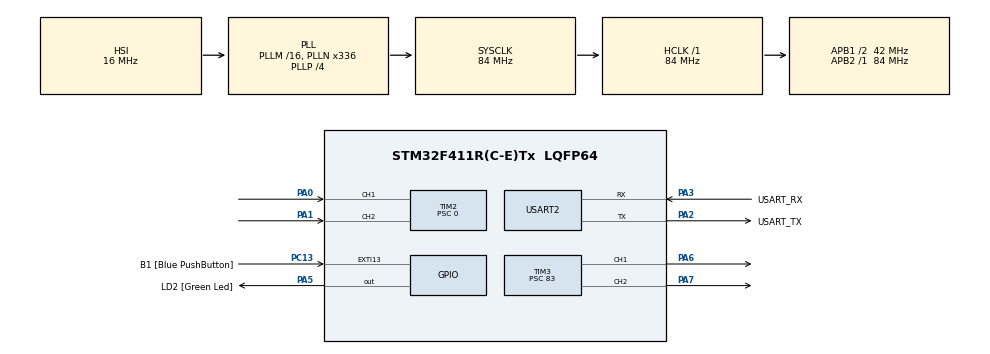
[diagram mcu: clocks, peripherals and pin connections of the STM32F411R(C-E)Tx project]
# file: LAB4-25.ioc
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ARM.CMSIS.5.6.0.CMSISJjCORE=true
ARM.CMSIS.5.6.0.CMSISJjDSP=Library
Mcu.Family=STM32F4
Mcu.Name=STM32F411R(C-E)Tx
Mcu.Package=LQFP64
Mcu.UserConstants=QEI_PERIOD,307200
NVIC.PriorityGroup=NVIC_PRIORITYGROUP_0
PA0-WKUP.Signal=S_TIM2_CH1_ETR
PA1.Signal=S_TIM2_CH2
PA13.GPIO_Label=TMS
PA13.Mode=Trace_Asynchronous_SW
PA13.Signal=SYS_JTMS-SWDIO
PA14.GPIO_Label=TCK
PA14.Mode=Trace_Asynchronous_SW
PA14.Signal=SYS_JTCK-SWCLK
PA2.GPIO_Label=USART_TX
PA2.Mode=Asynchronous
PA2.Signal=USART2_TX
PA3.GPIO_Label=USART_RX
PA3.Mode=Asynchronous
PA3.Signal=USART2_RX
PA5.GPIO_Label=LD2 [Green Led]
PA5.Signal=GPIO_Output
PA6.Signal=S_TIM3_CH1
PA7.Signal=S_TIM3_CH2
PB3.GPIO_Label=SWO
PB3.Mode=Trace_Asynchronous_SW
PB3.Signal=SYS_JTDO-SWO
PC13-ANTI_TAMP.GPIO_Label=B1 [Blue PushButton]
PC13-ANTI_TAMP.GPIO_ModeDefaultEXTI=GPIO_MODE_IT_FALLING
PC13-ANTI_TAMP.Signal=GPXTI13
PC14-OSC32_IN.Mode=LSE-External-Oscillator
PC14-OSC32_IN.Signal=RCC_OSC32_IN
PC15-OSC32_OUT.Mode=LSE-External-Oscillator
PC15-OSC32_OUT.Signal=RCC_OSC32_OUT
PH0\ -\ OSC_IN.Mode=HSE-External-Clock-Source
PH0\ -\ OSC_IN.Signal=RCC_OSC_IN
PH1\ -\ OSC_OUT.Mode=HSE-External-Clock-Source
PH1\ -\ OSC_OUT.Signal=RCC_OSC_OUT
ProjectManager.HeapSize=0x200
ProjectManager.StackSize=0x400
ProjectManager.TargetToolchain=STM32CubeIDE
RCC.48MHZClocksFreq_Value=84000000
RCC.AHBFreq_Value=84000000
RCC.APB1CLKDivider=RCC_HCLK_DIV2
RCC.APB1Freq_Value=42000000
RCC.APB1TimFreq_Value=84000000
RCC.APB2Freq_Value=84000000
RCC.APB2TimFreq_Value=84000000
RCC.CortexFreq_Value=84000000
RCC.FLatency-AdvancedSettings=FLASH_LATENCY_2
RCC.HCLKFreq_Value=84000000
RCC.HSE_VALUE=8000000
RCC.HSI_VALUE=16000000
RCC.PLLN=336
RCC.PLLP=RCC_PLLP_DIV4
RCC.SYSCLKFreq_VALUE=84000000
RCC.SYSCLKSource=RCC_SYSCLKSOURCE_PLLCLK
RCC.VCOOutputFreq_Value=336000000
SH.S_TIM2_CH1_ETR.0=TIM2_CH1,Encoder_Interface
SH.S_TIM2_CH2.0=TIM2_CH2,Encoder_Interface
SH.S_TIM3_CH1.0=TIM3_CH1,PWM Generation1 CH1
SH.S_TIM3_CH2.0=TIM3_CH2,PWM Generation2 CH2
TIM2.EncoderMode=TIM_ENCODERMODE_TI12
TIM2.Period=QEI_PERIOD-1
TIM2.Prescaler=0
TIM3.Channel-PWM\ Generation1\ CH1=TIM_CHANNEL_1
TIM3.Channel-PWM\ Generation2\ CH2=TIM_CHANNEL_2
TIM3.Period=999
TIM3.Prescaler=83
USART2.VirtualMode=VM_ASYNC
VP_ARM.CMSIS_VS_CMSISJjCORE_5.3.0_5.6.0.Mode=CMSISJjCORE
VP_ARM.CMSIS_VS_CMSISJjDSP_1.7.0_5.6.0.Mode=CMSISJjDSP
VP_TIM3_VS_ClockSourceINT.Mode=Internal
board=NUCLEO-F411RE

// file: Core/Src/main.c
/* USER CODE BEGIN Header */
/**
  ******************************************************************************
  * @file           : main.c
  * @brief          : Main program body
  ******************************************************************************
  * @attention
  *
  * Copyright (c) 2023 STMicroelectronics.
  * All rights reserved.
  *
  * This software is licensed under terms that can be found in the LICENSE file
  * in the root directory of this software component.
  * If no LICENSE file comes with this software, it is provided AS-IS.
  *
  ******************************************************************************
  */
/* USER CODE END Header */
#include "main.h"

/* USER CODE BEGIN Includes */
#include "math.h"
/* USER CODE END Includes */

TIM_HandleTypeDef htim2;
TIM_HandleTypeDef htim3;

UART_HandleTypeDef huart2;

/* USER CODE BEGIN PV */
uint32_t QEIReadRaw; //read degree motor
float SetDegree = 0; // for setting degree
float Duty = 0;
float Degree = 0;
float error = 0;
float error_integral = 0;
float error_differential = 0;
float error_previous = 0;
float deg_output = 0;
float Kp = 2.4;
float Ki = 0;
float Kd = 0.15;
int direction = 0;
/* USER CODE END PV */

void SystemClock_Config(void);
static void MX_GPIO_Init(void);
static void MX_USART2_UART_Init(void);
static void MX_TIM2_Init(void);
static void MX_TIM3_Init(void);
/* USER CODE BEGIN PFP */
void PIDControl();
/* USER CODE END PFP */

int main(void)
{

  /* MCU Configuration--------------------------------------------------------*/

  /* Reset of all peripherals, Initializes the Flash interface and the Systick. */
  HAL_Init();

  /* Configure the system clock */
  SystemClock_Config();

  /* Initialize all configured peripherals */
  MX_GPIO_Init();
  MX_USART2_UART_Init();
  MX_TIM2_Init();
  MX_TIM3_Init();
  /* USER CODE BEGIN 2 */
HAL_TIM_Encoder_Start(&htim2, TIM_CHANNEL_1|TIM_CHANNEL_2);
HAL_TIM_Base_Start(&htim3);
HAL_TIM_PWM_Start(&htim3, TIM_CHANNEL_1);
HAL_TIM_PWM_Start(&htim3, TIM_CHANNEL_2);
  /* USER CODE END 2 */

  /* Infinite loop */
  while (1)
  {

    /* USER CODE BEGIN 3 */
	  static uint32_t timestamp = 0;
	  if(HAL_GetTick()>timestamp){
		  timestamp = HAL_GetTick() + 50;
		  QEIReadRaw = __HAL_TIM_GET_COUNTER(&htim2);
		  Degree = (QEIReadRaw * 360)/3072.0;

	  }
	  PIDControl();
		if (direction == 0){
	  __HAL_TIM_SET_COMPARE(&htim3,TIM_CHANNEL_1,Duty*10); // compare counter period and input เพื่อเปลี่ยน duty cycle (1MHz/CounterPeriod
	  __HAL_TIM_SET_COMPARE(&htim3,TIM_CHANNEL_2,0); // compare counter period and input เพื่อเปลี่ยน duty cycle (1MHz/CounterPeriod

		}
		if (direction == 1){
	  __HAL_TIM_SET_COMPARE(&htim3,TIM_CHANNEL_2,Duty*10); // compare counter period and input เพื่อเปลี่ยน duty cycle (1MHz/CounterPeriod
	  __HAL_TIM_SET_COMPARE(&htim3,TIM_CHANNEL_1,0); // compare counter period and input เพื่อเปลี่ยน duty cycle (1MHz/CounterPeriod

		}

  }
  /* USER CODE END 3 */
}

void SystemClock_Config(void)
{
  RCC_OscInitTypeDef RCC_OscInitStruct = {0};
  RCC_ClkInitTypeDef RCC_ClkInitStruct = {0};

  /** Configure the main internal regulator output voltage
  */
  __HAL_RCC_PWR_CLK_ENABLE();
  __HAL_PWR_VOLTAGESCALING_CONFIG(PWR_REGULATOR_VOLTAGE_SCALE1);

  /** Initializes the RCC Oscillators according to the specified parameters
  * in the RCC_OscInitTypeDef structure.
  */
  RCC_OscInitStruct.OscillatorType = RCC_OSCILLATORTYPE_HSI;
  RCC_OscInitStruct.HSIState = RCC_HSI_ON;
  RCC_OscInitStruct.HSICalibrationValue = RCC_HSICALIBRATION_DEFAULT;
  RCC_OscInitStruct.PLL.PLLState = RCC_PLL_ON;
  RCC_OscInitStruct.PLL.PLLSource = RCC_PLLSOURCE_HSI;
  RCC_OscInitStruct.PLL.PLLM = 16;
  RCC_OscInitStruct.PLL.PLLN = 336;
  RCC_OscInitStruct.PLL.PLLP = RCC_PLLP_DIV4;
  RCC_OscInitStruct.PLL.PLLQ = 4;
  if (HAL_RCC_OscConfig(&RCC_OscInitStruct) != HAL_OK)
  {
    Error_Handler();
  }

  /** Initializes the CPU, AHB and APB buses clocks
  */
  RCC_ClkInitStruct.ClockType = RCC_CLOCKTYPE_HCLK|RCC_CLOCKTYPE_SYSCLK
                              |RCC_CLOCKTYPE_PCLK1|RCC_CLOCKTYPE_PCLK2;
  RCC_ClkInitStruct.SYSCLKSource = RCC_SYSCLKSOURCE_PLLCLK;
  RCC_ClkInitStruct.AHBCLKDivider = RCC_SYSCLK_DIV1;
  RCC_ClkInitStruct.APB1CLKDivider = RCC_HCLK_DIV2;
  RCC_ClkInitStruct.APB2CLKDivider = RCC_HCLK_DIV1;

  if (HAL_RCC_ClockConfig(&RCC_ClkInitStruct, FLASH_LATENCY_2) != HAL_OK)
  {
    Error_Handler();
  }
}

static void MX_TIM2_Init(void)
{

  TIM_Encoder_InitTypeDef sConfig = {0};
  TIM_MasterConfigTypeDef sMasterConfig = {0};

  htim2.Instance = TIM2;
  htim2.Init.Prescaler = 0;
  htim2.Init.CounterMode = TIM_COUNTERMODE_UP;
  htim2.Init.Period = QEI_PERIOD-1;
  htim2.Init.ClockDivision = TIM_CLOCKDIVISION_DIV1;
  htim2.Init.AutoReloadPreload = TIM_AUTORELOAD_PRELOAD_DISABLE;
  sConfig.EncoderMode = TIM_ENCODERMODE_TI12;
  sConfig.IC1Polarity = TIM_ICPOLARITY_RISING;
  sConfig.IC1Selection = TIM_ICSELECTION_DIRECTTI;
  sConfig.IC1Prescaler = TIM_ICPSC_DIV1;
  sConfig.IC1Filter = 0;
  sConfig.IC2Polarity = TIM_ICPOLARITY_RISING;
  sConfig.IC2Selection = TIM_ICSELECTION_DIRECTTI;
  sConfig.IC2Prescaler = TIM_ICPSC_DIV1;
  sConfig.IC2Filter = 0;
  if (HAL_TIM_Encoder_Init(&htim2, &sConfig) != HAL_OK)
  {
    Error_Handler();
  }
  sMasterConfig.MasterOutputTrigger = TIM_TRGO_RESET;
  sMasterConfig.MasterSlaveMode = TIM_MASTERSLAVEMODE_DISABLE;
  if (HAL_TIMEx_MasterConfigSynchronization(&htim2, &sMasterConfig) != HAL_OK)
  {
    Error_Handler();
  }

}

static void MX_TIM3_Init(void)
{

  TIM_ClockConfigTypeDef sClockSourceConfig = {0};
  TIM_MasterConfigTypeDef sMasterConfig = {0};
  TIM_OC_InitTypeDef sConfigOC = {0};

  htim3.Instance = TIM3;
  htim3.Init.Prescaler = 83;
  htim3.Init.CounterMode = TIM_COUNTERMODE_UP;
  htim3.Init.Period = 999;
  htim3.Init.ClockDivision = TIM_CLOCKDIVISION_DIV1;
  htim3.Init.AutoReloadPreload = TIM_AUTORELOAD_PRELOAD_DISABLE;
  if (HAL_TIM_Base_Init(&htim3) != HAL_OK)
  {
    Error_Handler();
  }
  sClockSourceConfig.ClockSource = TIM_CLOCKSOURCE_INTERNAL;
  if (HAL_TIM_ConfigClockSource(&htim3, &sClockSourceConfig) != HAL_OK)
  {
    Error_Handler();
  }
  if (HAL_TIM_PWM_Init(&htim3) != HAL_OK)
  {
    Error_Handler();
  }
  sMasterConfig.MasterOutputTrigger = TIM_TRGO_RESET;
  sMasterConfig.MasterSlaveMode = TIM_MASTERSLAVEMODE_DISABLE;
  if (HAL_TIMEx_MasterConfigSynchronization(&htim3, &sMasterConfig) != HAL_OK)
  {
    Error_Handler();
  }
  sConfigOC.OCMode = TIM_OCMODE_PWM1;
  sConfigOC.Pulse = 0;
  sConfigOC.OCPolarity = TIM_OCPOLARITY_HIGH;
  sConfigOC.OCFastMode = TIM_OCFAST_DISABLE;
  if (HAL_TIM_PWM_ConfigChannel(&htim3, &sConfigOC, TIM_CHANNEL_1) != HAL_OK)
  {
    Error_Handler();
  }
  if (HAL_TIM_PWM_ConfigChannel(&htim3, &sConfigOC, TIM_CHANNEL_2) != HAL_OK)
  {
    Error_Handler();
  }
  HAL_TIM_MspPostInit(&htim3);

}

static void MX_USART2_UART_Init(void)
{

  huart2.Instance = USART2;
  huart2.Init.BaudRate = 115200;
  huart2.Init.WordLength = UART_WORDLENGTH_8B;
  huart2.Init.StopBits = UART_STOPBITS_1;
  huart2.Init.Parity = UART_PARITY_NONE;
  huart2.Init.Mode = UART_MODE_TX_RX;
  huart2.Init.HwFlowCtl = UART_HWCONTROL_NONE;
  huart2.Init.OverSampling = UART_OVERSAMPLING_16;
  if (HAL_UART_Init(&huart2) != HAL_OK)
  {
    Error_Handler();
  }

}

static void MX_GPIO_Init(void)
{
  GPIO_InitTypeDef GPIO_InitStruct = {0};

  /* GPIO Ports Clock Enable */
  __HAL_RCC_GPIOC_CLK_ENABLE();
  __HAL_RCC_GPIOH_CLK_ENABLE();
  __HAL_RCC_GPIOA_CLK_ENABLE();
  __HAL_RCC_GPIOB_CLK_ENABLE();

  /*Configure GPIO pin Output Level */
  HAL_GPIO_WritePin(LD2_GPIO_Port, LD2_Pin, GPIO_PIN_RESET);

  /*Configure GPIO pin : B1_Pin */
  GPIO_InitStruct.Pin = B1_Pin;
  GPIO_InitStruct.Mode = GPIO_MODE_IT_FALLING;
  GPIO_InitStruct.Pull = GPIO_NOPULL;
  HAL_GPIO_Init(B1_GPIO_Port, &GPIO_InitStruct);

  /*Configure GPIO pin : LD2_Pin */
  GPIO_InitStruct.Pin = LD2_Pin;
  GPIO_InitStruct.Mode = GPIO_MODE_OUTPUT_PP;
  GPIO_InitStruct.Pull = GPIO_NOPULL;
  GPIO_InitStruct.Speed = GPIO_SPEED_FREQ_LOW;
  HAL_GPIO_Init(LD2_GPIO_Port, &GPIO_InitStruct);

}

/* USER CODE BEGIN 4 */
void PIDControl(){

	// For Kp
	error = SetDegree - Degree ; // kp*e for finding error
	// For ki
	error_integral = error_integral + (error * 50.0);
	// For kd
	error_differential = (error - error_previous) / 50.0;
	// PID Equation
	deg_output = (error * Kp) + (error_integral * Ki) + (error_differential * Kd);

	Duty = fabs(deg_output);
	error_previous = error;
	// check Duty > 100 or < 0
	if (Duty > 100){
		Duty = 100;
	}
//	if (Duty < 0){
//		Duty = fabs(deg_output);
//	}
	if (deg_output < 0){
		direction = 1;
	}
	if (deg_output > 0){
		direction = 0;
	}

}

/* USER CODE END 4 */

void Error_Handler(void)
{
  __disable_irq();
  while (1)
  {
  }
}
